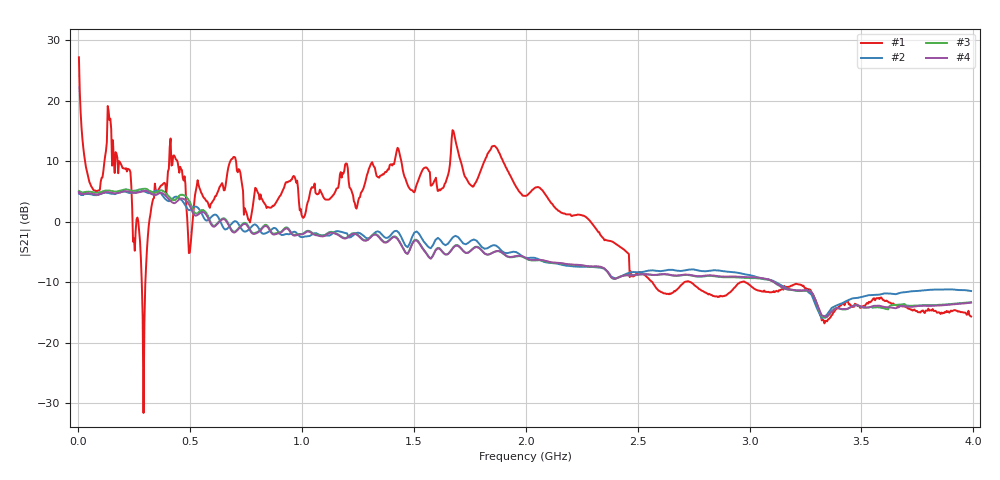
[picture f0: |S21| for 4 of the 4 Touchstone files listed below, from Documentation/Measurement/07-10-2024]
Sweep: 3.9 MHz to 3.99 GHz
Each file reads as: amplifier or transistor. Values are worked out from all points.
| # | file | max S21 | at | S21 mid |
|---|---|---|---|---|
| 1 | nano-dc-block.s2p | 27.2 dB | 3.9 MHz | 4.3 dB at 1.997 GHz |
| 2 | znl-dc-block.s2p | 5.1 dB | 349.7 MHz | 4.8 dB at 124.7 MHz |
| 3 | znl-linear.s2p | 5.5 dB | 300.3 MHz | -6.0 dB at 1.997 GHz |
| 4 | znl.s2p | 5.1 dB | 301.2 MHz | 4.9 dB at 124.7 MHz |
